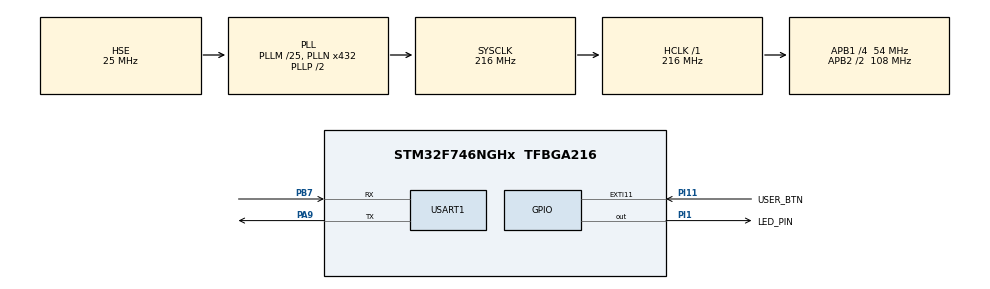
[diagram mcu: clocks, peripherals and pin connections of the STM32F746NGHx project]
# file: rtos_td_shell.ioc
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FREERTOS.Tasks01=defaultTask,24,128,StartDefaultTask,Default,NULL,Dynamic,NULL,NULL
Mcu.Family=STM32F7
Mcu.Name=STM32F746NGHx
Mcu.Package=TFBGA216
NVIC.PriorityGroup=NVIC_PRIORITYGROUP_4
NVIC.TIM6_DAC_IRQn=true\:15\:0\:false\:false\:true\:false\:false\:true\:true
NVIC.TimeBase=TIM6_DAC_IRQn
NVIC.TimeBaseIP=TIM6
NVIC.USART1_IRQn=true\:5\:0\:false\:false\:true\:true\:true\:true\:true
PA13.Mode=Serial_Wire
PA13.Signal=SYS_JTMS-SWDIO
PA14.Mode=Serial_Wire
PA14.Signal=SYS_JTCK-SWCLK
PA9.Mode=Asynchronous
PA9.Signal=USART1_TX
PB7.Mode=Asynchronous
PB7.Signal=USART1_RX
PH0/OSC_IN.Mode=HSE-External-Oscillator
PH0/OSC_IN.Signal=RCC_OSC_IN
PH1/OSC_OUT.Mode=HSE-External-Oscillator
PH1/OSC_OUT.Signal=RCC_OSC_OUT
PI1.GPIO_Label=LED_PIN
PI1.Signal=GPIO_Output
PI11.GPIO_Label=USER_BTN
PI11.Signal=GPXTI11
ProjectManager.HeapSize=0x200
ProjectManager.StackSize=0x400
ProjectManager.TargetToolchain=STM32CubeIDE
RCC.AHBFreq_Value=216000000
RCC.APB1CLKDivider=RCC_HCLK_DIV4
RCC.APB1Freq_Value=54000000
RCC.APB1TimFreq_Value=108000000
RCC.APB2CLKDivider=RCC_HCLK_DIV2
RCC.APB2Freq_Value=108000000
RCC.APB2TimFreq_Value=216000000
RCC.CortexFreq_Value=216000000
RCC.HCLKFreq_Value=216000000
RCC.HSE_VALUE=25000000
RCC.HSI_VALUE=16000000
RCC.LSE_VALUE=32768
RCC.PLLM=25
RCC.PLLN=432
RCC.PLLSourceVirtual=RCC_PLLSOURCE_HSE
RCC.SYSCLKFreq_VALUE=216000000
RCC.SYSCLKSource=RCC_SYSCLKSOURCE_PLLCLK
RCC.USBFreq_Value=216000000
RCC.VCOOutputFreq_Value=432000000
USART1.VirtualMode-Asynchronous=VM_ASYNC
VP_FREERTOS_VS_CMSIS_V2.Mode=CMSIS_V2
VP_SYS_VS_tim6.Mode=TIM6
VP_TIM1_VS_ClockSourceINT.Mode=Internal
board=STM32F746G-DISCO

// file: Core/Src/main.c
/* USER CODE BEGIN Header */
/**
 ******************************************************************************
 * @file           : main.c
 * @brief          : Main program body
 ******************************************************************************
 * @attention
 *
 * Copyright (c) 2022 STMicroelectronics.
 * All rights reserved.
 *
 * This software is licensed under terms that can be found in the LICENSE file
 * in the root directory of this software component.
 * If no LICENSE file comes with this software, it is provided AS-IS.
 *
 ******************************************************************************
 */
/* USER CODE END Header */
#include "main.h"
#include "cmsis_os.h"
#include "tim.h"
#include "usart.h"
#include "gpio.h"

/* USER CODE BEGIN Includes */
#include <stdio.h>
#include "shell.h"
#include "drv_uart1.h"
#include "semphr.h"
/* USER CODE END Includes */

/* USER CODE BEGIN PD */
#define MAX_SIZE 512
#define SHELL_PRIORITY 11
#define CLIGNOTTE_PRIORITY 9
#define TASKLED_PRIORITY 9
#define TOTAL_HEAP_SIZE 2048
#define DELAY_1 50
#define STACK_SIZE 50
#define LED_GPIO_Port GPIOI
#define LED_Pin 1

/* USER CODE END PD */

/* USER CODE BEGIN PV */
TaskHandle_t ShellHandle;
TaskHandle_t ClignotteHandle;
TaskHandle_t xHandle;
char *pvParameters;
SemaphoreHandle_t sem1;
SemaphoreHandle_t semMutex;
/* USER CODE END PV */

void SystemClock_Config(void);
void MX_FREERTOS_Init(void);

/* USER CODE BEGIN 0 */
int __io_putchar(int ch)
{
	HAL_UART_Transmit(&huart1, (uint8_t*)&ch, 1, HAL_MAX_DELAY);

	return ch;
}

void TaskLed(void * pvParameters){
	int freq = (int) pvParameters; // On récupère la réquence de clignotement voulue
	while(1){
		HAL_GPIO_TogglePin(LED_GPIO_Port, LED_Pin); // On fait clignoter la led
		vTaskDelay(1000/freq);						// à la fréquence voulue
	}
}

/* Fonctions Shell */
int led(int argc, char ** argv){
	int f=atoi(argv[1]); // On récupère la fréquence souhaitée
	if (xHandle!=NULL ) { // Si une tache est déjà écrite on l'efface
		vTaskDelete(xHandle);
		xHandle = NULL; // On réinitialise la pile
	}
	if (f!=0){ //si la fréquence est différente de 0
		xTaskCreate(TaskLed, "TaskLed", STACK_SIZE, (void *) f, 20, &xHandle);
		// Alors on crée la tâche de clignotement de led qui a pour pvParameters la fréq f
	}
	if (f==0){ // Si la fréquence est nulle
		HAL_GPIO_WritePin(LED_GPIO_Port, LED_Pin, 0); // On configure la sortie du pin à 0
	}
	else return 0;
}

int fonction(int argc, char ** argv){
	printf("Fonction bidon\r\n");

	// TODO: Ajouter l'affichage des arguments
	printf("argc = %d\r\n", argc);
	for (int i=0; i<argc; i++){
		printf("argument numero %d = %s\r\n",i, argv[i]);
	}
	return 0;
}

/* Taches OS*/

int sClignotte(int Time){
	HAL_GPIO_TogglePin(GPIOI, GPIO_PIN_1);
	vTaskDelay(Time);
	return 1;
}

void clignotte(void * pvParameters)
{
	int Time;
	while(1)
	{
		Time = (int)pvParameters;
		sClignotte(Time);
	}
}

void CodeTache2  (void* pvParameters){
	int duree=(int) pvParameters;
	char* s=pcTaskGetName(xTaskGetCurrentTaskHandle());

	while(1){

		printf("Je suis la tache %s et je m'endors pour ùd periodes \r\n", s , duree);
	}
}

void vTask1(void* pvParameters){
	int delay = (int) pvParameters;

	while(1) {
		xSemaphoreTake(semMutex, portMAX_DELAY);
		printf("Je suis la tache 1 et je m'endors pour %d ticks\r\n", delay);
		xSemaphoreGive(semMutex);
		vTaskDelay(delay);
	}
}

void vTask2(void * pvParameters){
	int delay = (int) pvParameters;

	while(1) {
		xSemaphoreTake(semMutex, portMAX_DELAY);
		printf("Je suis la tache 2 et je m'endors pour %d ticks\r\n", delay);
		xSemaphoreGive(semMutex);
		vTaskDelay(delay);
	}
}

void codeTache1(void* pvParameters){
	while(1){
		xSemaphoreTake(sem1,portMAX_DELAY);
		printf("Tache 1 \r\n");
	}
	}

void codeTache2(void* pvParameters){
	while(1){
		xSemaphoreGive(sem1);
		printf("Tache 2 \r\n");
		vTaskDelay(DELAY_1);
	}
}

int shell(void * pvParameters)
{
	shell_add('f', fonction, "Une fonction inutile");
	shell_add('l', led, "Fait clignoter la LED");
	while(1)
	{
		shell_run();
	}
	return 0;
}

/* USER CODE END 0 */

int main(void)
{
  /* USER CODE BEGIN 1 */
	sem1 = xSemaphoreCreateBinary();
	semMutex = xSemaphoreCreateMutex();
	shell_init();

	/* Creation Taches */

	xTaskCreate(shell,
				"shell",
		        MAX_SIZE,
		        *pvParameters,
		        SHELL_PRIORITY,
		        &ShellHandle
				);

	xTaskCreate(TaskLed,
				"TaskLed",
		        MAX_SIZE,
		        *pvParameters,
		        TASKLED_PRIORITY,
		        &ShellHandle
				);

	xTaskCreate(clignotte,
		        "clignotte",
		        MAX_SIZE,
		        *pvParameters,
		        CLIGNOTTE_PRIORITY,
		        &ClignotteHandle
		        );
  /* USER CODE END 1 */

  /* MCU Configuration--------------------------------------------------------*/

  /* Reset of all peripherals, Initializes the Flash interface and the Systick. */
  HAL_Init();

  /* Configure the system clock */
  SystemClock_Config();

  /* Initialize all configured peripherals */
  MX_GPIO_Init();
  MX_USART1_UART_Init();
  MX_TIM1_Init();

  /* Init scheduler */
  osKernelInitialize();  /* Call init function for freertos objects (in freertos.c) */
  MX_FREERTOS_Init();

  /* Start scheduler */
  osKernelStart();

  /* We should never get here as control is now taken by the scheduler */
  /* Infinite loop */
	while (1)
	{

	}
}

void SystemClock_Config(void)
{
  RCC_OscInitTypeDef RCC_OscInitStruct = {0};
  RCC_ClkInitTypeDef RCC_ClkInitStruct = {0};

  /** Configure the main internal regulator output voltage
  */
  __HAL_RCC_PWR_CLK_ENABLE();
  __HAL_PWR_VOLTAGESCALING_CONFIG(PWR_REGULATOR_VOLTAGE_SCALE1);

  /** Initializes the RCC Oscillators according to the specified parameters
  * in the RCC_OscInitTypeDef structure.
  */
  RCC_OscInitStruct.OscillatorType = RCC_OSCILLATORTYPE_HSE;
  RCC_OscInitStruct.HSEState = RCC_HSE_ON;
  RCC_OscInitStruct.PLL.PLLState = RCC_PLL_ON;
  RCC_OscInitStruct.PLL.PLLSource = RCC_PLLSOURCE_HSE;
  RCC_OscInitStruct.PLL.PLLM = 25;
  RCC_OscInitStruct.PLL.PLLN = 432;
  RCC_OscInitStruct.PLL.PLLP = RCC_PLLP_DIV2;
  RCC_OscInitStruct.PLL.PLLQ = 2;
  if (HAL_RCC_OscConfig(&RCC_OscInitStruct) != HAL_OK)
  {
    Error_Handler();
  }

  /** Activate the Over-Drive mode
  */
  if (HAL_PWREx_EnableOverDrive() != HAL_OK)
  {
    Error_Handler();
  }

  /** Initializes the CPU, AHB and APB buses clocks
  */
  RCC_ClkInitStruct.ClockType = RCC_CLOCKTYPE_HCLK|RCC_CLOCKTYPE_SYSCLK
                              |RCC_CLOCKTYPE_PCLK1|RCC_CLOCKTYPE_PCLK2;
  RCC_ClkInitStruct.SYSCLKSource = RCC_SYSCLKSOURCE_PLLCLK;
  RCC_ClkInitStruct.AHBCLKDivider = RCC_SYSCLK_DIV1;
  RCC_ClkInitStruct.APB1CLKDivider = RCC_HCLK_DIV4;
  RCC_ClkInitStruct.APB2CLKDivider = RCC_HCLK_DIV2;

  if (HAL_RCC_ClockConfig(&RCC_ClkInitStruct, FLASH_LATENCY_7) != HAL_OK)
  {
    Error_Handler();
  }
}

void HAL_TIM_PeriodElapsedCallback(TIM_HandleTypeDef *htim)
{
  if (htim->Instance == TIM6) {
    HAL_IncTick();
  }
}

void Error_Handler(void)
{
	__disable_irq();
	while (1)
	{
	}
}
